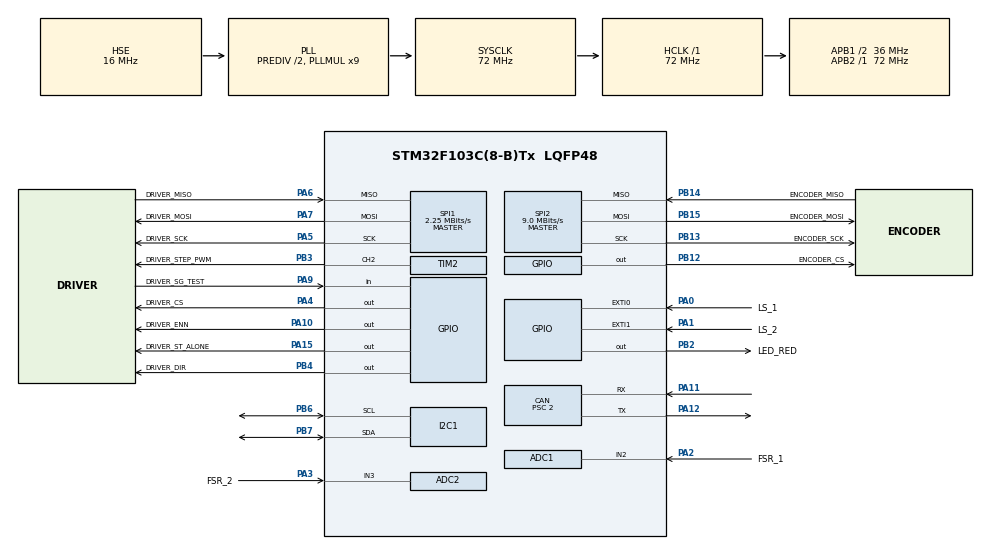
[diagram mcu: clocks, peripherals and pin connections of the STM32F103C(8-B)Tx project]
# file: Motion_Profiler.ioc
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ADC1.Channel-0\#ChannelRegularConversion=ADC_CHANNEL_2
ADC1.EnableAnalogWatchDog=true
ADC1.NbrOfConversionFlag=1
ADC1.Rank-0\#ChannelRegularConversion=1
ADC1.SamplingTime-0\#ChannelRegularConversion=ADC_SAMPLETIME_1CYCLE_5
ADC1.WatchdogChannel=ADC_CHANNEL_2
ADC1.master=1
ADC2.Channel-0\#ChannelRegularConversion=ADC_CHANNEL_3
ADC2.EnableAnalogWatchDog=true
ADC2.NbrOfConversionFlag=1
ADC2.Rank-0\#ChannelRegularConversion=1
ADC2.SamplingTime-0\#ChannelRegularConversion=ADC_SAMPLETIME_1CYCLE_5
ADC2.WatchdogChannel=ADC_CHANNEL_3
CAN.BS1=CAN_BS1_15TQ
CAN.BS2=CAN_BS2_2TQ
CAN.CalculateBaudRate=1000000
CAN.CalculateTimeBit=1000
CAN.CalculateTimeQuantum=55.55555555555556
CAN.NART=ENABLE
CAN.Prescaler=2
CAN.SJW=CAN_SJW_2TQ
Mcu.Family=STM32F1
Mcu.Name=STM32F103C(8-B)Tx
Mcu.Package=LQFP48
NVIC.ADC1_2_IRQn=true\:0\:0\:false\:false\:true\:true\:true\:true
NVIC.EXTI0_IRQn=true\:1\:0\:true\:false\:true\:true\:true\:true
NVIC.EXTI1_IRQn=true\:1\:0\:true\:false\:true\:true\:true\:true
NVIC.PriorityGroup=NVIC_PRIORITYGROUP_4
NVIC.USB_LP_CAN1_RX0_IRQn=true\:2\:0\:true\:false\:true\:true\:true\:true
PA0-WKUP.GPIO_Label=LS_1
PA0-WKUP.GPIO_ModeDefaultEXTI=GPIO_MODE_IT_RISING_FALLING
PA0-WKUP.Signal=GPXTI0
PA1.GPIO_Label=LS_2
PA1.GPIO_ModeDefaultEXTI=GPIO_MODE_IT_RISING_FALLING
PA1.Signal=GPXTI1
PA10.GPIO_Label=DRIVER_ENN
PA10.Signal=GPIO_Output
PA11.Mode=CAN_Activate
PA11.Signal=CAN_RX
PA12.Mode=CAN_Activate
PA12.Signal=CAN_TX
PA13.Mode=Serial_Wire
PA13.Signal=SYS_JTMS-SWDIO
PA14.Mode=Serial_Wire
PA14.Signal=SYS_JTCK-SWCLK
PA15.GPIO_Label=DRIVER_ST_ALONE
PA15.Signal=GPIO_Output
PA2.GPIO_Label=FSR_1
PA2.Signal=ADCx_IN2
PA3.GPIO_Label=FSR_2
PA3.Signal=ADCx_IN3
PA4.GPIO_Label=DRIVER_CS
PA4.Signal=GPIO_Output
PA5.GPIO_Label=DRIVER_SCK
PA5.Mode=Full_Duplex_Master
PA5.Signal=SPI1_SCK
PA6.GPIO_Label=DRIVER_MISO
PA6.Mode=Full_Duplex_Master
PA6.Signal=SPI1_MISO
PA7.GPIO_Label=DRIVER_MOSI
PA7.Mode=Full_Duplex_Master
PA7.Signal=SPI1_MOSI
PA9.GPIO_Label=DRIVER_SG_TEST
PA9.Signal=GPIO_Input
PB12.GPIO_Label=ENCODER_CS
PB12.Signal=GPIO_Output
PB13.GPIO_Label=ENCODER_SCK
PB13.Mode=Full_Duplex_Master
PB13.Signal=SPI2_SCK
PB14.GPIO_Label=ENCODER_MISO
PB14.Mode=Full_Duplex_Master
PB14.Signal=SPI2_MISO
PB15.GPIO_Label=ENCODER_MOSI
PB15.Mode=Full_Duplex_Master
PB15.Signal=SPI2_MOSI
PB2.GPIO_Label=LED_RED
PB2.Signal=GPIO_Output
PB3.GPIO_Label=DRIVER_STEP_PWM
PB3.Signal=S_TIM2_CH2
PB4.GPIO_Label=DRIVER_DIR
PB4.Signal=GPIO_Output
PB6.Mode=I2C
PB6.Signal=I2C1_SCL
PB7.Mode=I2C
PB7.Signal=I2C1_SDA
PD0-OSC_IN.Mode=HSE-External-Oscillator
PD0-OSC_IN.Signal=RCC_OSC_IN
PD1-OSC_OUT.Mode=HSE-External-Oscillator
PD1-OSC_OUT.Signal=RCC_OSC_OUT
ProjectManager.HeapSize=0x200
ProjectManager.StackSize=0x400
ProjectManager.TargetToolchain=STM32CubeIDE
RCC.ADCPresc=RCC_ADCPCLK2_DIV6
RCC.AHBFreq_Value=72000000
RCC.APB1CLKDivider=RCC_HCLK_DIV2
RCC.APB1Freq_Value=36000000
RCC.APB1TimFreq_Value=72000000
RCC.APB2Freq_Value=72000000
RCC.APB2TimFreq_Value=72000000
RCC.HCLKFreq_Value=72000000
RCC.HSEDivPLL=RCC_HSE_PREDIV_DIV2
RCC.HSE_VALUE=16000000
RCC.PLLMUL=RCC_PLL_MUL9
RCC.PLLSourceVirtual=RCC_PLLSOURCE_HSE
RCC.SYSCLKFreq_VALUE=72000000
RCC.SYSCLKSource=RCC_SYSCLKSOURCE_PLLCLK
RCC.USBFreq_Value=72000000
SH.ADCx_IN2.0=ADC1_IN2,IN2
SH.ADCx_IN3.0=ADC2_IN3,IN3
SH.S_TIM2_CH2.0=TIM2_CH2,PWM Generation2 CH2
SPI1.BaudRatePrescaler=SPI_BAUDRATEPRESCALER_32
SPI1.CalculateBaudRate=2.25 MBits/s
SPI1.Direction=SPI_DIRECTION_2LINES
SPI1.Mode=SPI_MODE_MASTER
SPI1.VirtualType=VM_MASTER
SPI2.BaudRatePrescaler=SPI_BAUDRATEPRESCALER_4
SPI2.CLKPhase=SPI_PHASE_2EDGE
SPI2.CalculateBaudRate=9.0 MBits/s
SPI2.Direction=SPI_DIRECTION_2LINES
SPI2.Mode=SPI_MODE_MASTER
SPI2.VirtualType=VM_MASTER
TIM2.Channel-PWM\ Generation2\ CH2=TIM_CHANNEL_2
TIM2.Period=65535
board=custom

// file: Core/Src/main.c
/* USER CODE BEGIN Header */
/**
 ******************************************************************************
 * @file           : main.c
 * @brief          : Main program body
 ******************************************************************************
 * @attention
 *
 * Copyright (c) 2024 STMicroelectronics.
 * All rights reserved.
 *
 * This software is licensed under terms that can be found in the LICENSE file
 * in the root directory of this software component.
 * If no LICENSE file comes with this software, it is provided AS-IS.
 *
 ******************************************************************************
 */
/* USER CODE END Header */
#include "main.h"
#include "adc.h"
#include "can.h"
#include "i2c.h"
#include "spi.h"
#include "tim.h"
#include "gpio.h"

/* USER CODE BEGIN Includes */

#include "motion.h"
#include "tmc_2590.h"

/* USER CODE END Includes */

/* USER CODE BEGIN PD */

void LS_Released_Callback(LS_NUMBER *num);
void LS_Pressed_Callback(LS_NUMBER *num);

/* USER CODE END PD */

/* USER CODE BEGIN PV */

RAD_PARAMS_TypeDef rad_params;
RAD_MOTION_PROFILE_TypeDef rad_motion_profile;

uint8_t ESTOP = 0;
uint8_t DISABLED = 0;

uint16_t min_angle;
uint16_t max_angle;
uint16_t gearing;
uint16_t max_rotations;
uint16_t steps_per_revolution;

float software_stop = 0;
uint8_t cw_enable = 0;
uint8_t ccw_enable = 0;

double* angle_average_buffer;
uint8_t buffer_head;

int16_t steps_to_move;

/* USER CODE END PV */

void SystemClock_Config(void);

int main(void)
{

  /* USER CODE BEGIN 1 */

	  //SET DEFAULT VALUES

		rad_params.RAD_ID = 0xF0;
	    rad_params.RAD_TYPE = RAD_TYPE_UNDEFINED;
	    rad_params.HOME_POSITION = RAD_TYPE_DRIVETRAIN_MAX_ROTATIONS/2;
	    rad_params.STEPPER_SPEED = 1000;
	    rad_params.ODOM_INTERVAL = 20; //50hz, or 20ms
	    rad_params.HEALTH_INTERVAL = 1000; //every second
	    rad_params.P = 0.01;
	    rad_params.I = 0.0000001;
	    rad_params.D = 0;

	    rad_params.CHOPCONF_CHM = 0b0;
	    rad_params.CHOPCONF_HDEC = 0b00;
	    rad_params.CHOPCONF_HEND = 0b0100;
	    rad_params.CHOPCONF_HSTRT = 0b110;
	    rad_params.CHOPCONF_RNDTF = 0b0;
	    rad_params.CHOPCONF_TBL = 0b10;
	    rad_params.CHOPCONF_TOFF = 0b100;

	    rad_params.DRVCONF_DIS_S2G = 0b0;
	    rad_params.DRVCONF_EN_PFD = 0b1;
	    rad_params.DRVCONF_EN_S2VS = 0b1;
	    rad_params.DRVCONF_OTSENS = 0b0;
	    rad_params.DRVCONF_RDSEL = 0b11;
	    rad_params.DRVCONF_SDOFF = 0b0;
	    rad_params.DRVCONF_SHRTSENS = 0b1;
	    rad_params.DRVCONF_SLP = 0b11110;
	    rad_params.DRVCONF_TS2G = 0b00;
	    rad_params.DRVCONF_TST = 0b0;
	    rad_params.DRVCONF_VSENSE = 0b0;

	    rad_params.DRVCTRL_DEDGE = 0b0;
	    rad_params.DRVCTRL_INTPOL = 0b1;
	    rad_params.DRVCTRL_MRES = 0b1000;

	    rad_params.SGCSCONF_CS = 10;
	    rad_params.SGCSCONF_SFILT = 0b0;
	    rad_params.SGCSCONF_SGT = 0b0000010;

	    rad_params.SMARTEN_SEDN = 0b00;
	    rad_params.SMARTEN_SEIMIN = 0b0;
	    rad_params.SMARTEN_SEMAX = 0b0000;
	    rad_params.SMARTEN_SEMIN = 0b0000;
	    rad_params.SMARTEN_SEUP = 0b00;

	    rad_params.PID_MIN_OUTPUT = 20;
	    rad_params.PID_MAX_OUTPUT = 1000;

	    rad_params.HOME_OFFSET = 0;

	    rad_motion_profile.STEPS_TO_MOVE = 90;
	    rad_motion_profile.V_I = 0;
	    rad_motion_profile.V_MAX = 5;
	    rad_motion_profile.ACCELERATION = 2;
	    rad_motion_profile.CURRENT_POS = 0;
	    rad_motion_profile.TIME_ELAPSED = 0;
	    rad_motion_profile.VELOCITY = 0;
	    rad_motion_profile.MOVEMENT_STEPS = 0;
	    rad_motion_profile.TOTAL_STEPS = 0;

  /* USER CODE END 1 */

  /* MCU Configuration--------------------------------------------------------*/

  /* Reset of all peripherals, Initializes the Flash interface and the Systick. */
  HAL_Init();

  /* Configure the system clock */
  SystemClock_Config();

  /* Initialize all configured peripherals */
  MX_GPIO_Init();
  MX_CAN_Init();
  MX_I2C1_Init();
  MX_SPI1_Init();
  MX_SPI2_Init();
  MX_ADC1_Init();
  MX_ADC2_Init();
  MX_TIM2_Init();
  /* USER CODE BEGIN 2 */

    // Motion_Profiler_HandleTypeDef profile;

    // profile.Init.max_velocity = 10;
    // profile.Init.min_velocity = 0;

    // profile.Init.acceleration = 5;
    // profile.Init.deadzone = 1;

    // Motion_Profiler_Init(&profile);

    // double start = 0;
    // double end = 10;

    // Motion_Profiler_GenerateNewTrajectory(&profile, start, end);

    // printf("Start: %f\n", profile.start);
    // printf("Setpoint: %f\n", profile.setpoint);

    // printf("blend x start: %f\n", profile.blend_x_start);

    // printf("blend x end: %f\n", profile.blend_x_end);

    // for (int i = 0; i <= end; i ++)
    // {
    //     Motion_Profiler_GetVelocity(&profile, (double)i);
    //     printf("Position: %d, Velocity: %d, Current State: %d\n", i, profile.current_velocity, profile.State);
    // }

  /* USER CODE END 2 */

  /* Infinite loop */
    while (1)
    {

    /* USER CODE BEGIN 3 */

    	HAL_TIM_Base_Start(&htim2);

    	// On first run, v_i = 0

    	while (rad_motion_profile.TOTAL_STEPS < rad_motion_profile.STEPS_TO_MOVE) {

			rad_motion_profile.TIME_ELAPSED = __HAL_TIM_GET_COUNTER(&htim2);

			rad_motion_profile.VELOCITY = MOTION_PROFILE_VELOCITY(rad_motion_profile.CURRENT_POS, rad_motion_profile.STEPS_TO_MOVE, rad_motion_profile.ACCELERATION, rad_motion_profile.V_I, rad_motion_profile.V_MAX, rad_motion_profile.TIME_ELAPSED);

			rad_motion_profile.MOVEMENT_STEPS = rad_motion_profile.VELOCITY * rad_motion_profile.TIME_ELAPSED;

			rad_motion_profile.TOTAL_STEPS += rad_motion_profile.MOVEMENT_STEPS;

			// Moving steps go here.  Need to link

			// todo (in hatch) - figure out the linking

			rad_motion_profile.V_I = rad_motion_profile.VELOCITY;
    	}

    }
  /* USER CODE END 3 */
}

void SystemClock_Config(void)
{
  RCC_OscInitTypeDef RCC_OscInitStruct = {0};
  RCC_ClkInitTypeDef RCC_ClkInitStruct = {0};
  RCC_PeriphCLKInitTypeDef PeriphClkInit = {0};

  /** Initializes the RCC Oscillators according to the specified parameters
  * in the RCC_OscInitTypeDef structure.
  */
  RCC_OscInitStruct.OscillatorType = RCC_OSCILLATORTYPE_HSE;
  RCC_OscInitStruct.HSEState = RCC_HSE_ON;
  RCC_OscInitStruct.HSEPredivValue = RCC_HSE_PREDIV_DIV2;
  RCC_OscInitStruct.HSIState = RCC_HSI_ON;
  RCC_OscInitStruct.PLL.PLLState = RCC_PLL_ON;
  RCC_OscInitStruct.PLL.PLLSource = RCC_PLLSOURCE_HSE;
  RCC_OscInitStruct.PLL.PLLMUL = RCC_PLL_MUL9;
  if (HAL_RCC_OscConfig(&RCC_OscInitStruct) != HAL_OK)
  {
    Error_Handler();
  }

  /** Initializes the CPU, AHB and APB buses clocks
  */
  RCC_ClkInitStruct.ClockType = RCC_CLOCKTYPE_HCLK|RCC_CLOCKTYPE_SYSCLK
                              |RCC_CLOCKTYPE_PCLK1|RCC_CLOCKTYPE_PCLK2;
  RCC_ClkInitStruct.SYSCLKSource = RCC_SYSCLKSOURCE_PLLCLK;
  RCC_ClkInitStruct.AHBCLKDivider = RCC_SYSCLK_DIV1;
  RCC_ClkInitStruct.APB1CLKDivider = RCC_HCLK_DIV2;
  RCC_ClkInitStruct.APB2CLKDivider = RCC_HCLK_DIV1;

  if (HAL_RCC_ClockConfig(&RCC_ClkInitStruct, FLASH_LATENCY_2) != HAL_OK)
  {
    Error_Handler();
  }
  PeriphClkInit.PeriphClockSelection = RCC_PERIPHCLK_ADC;
  PeriphClkInit.AdcClockSelection = RCC_ADCPCLK2_DIV6;
  if (HAL_RCCEx_PeriphCLKConfig(&PeriphClkInit) != HAL_OK)
  {
    Error_Handler();
  }
}

/* USER CODE BEGIN 4 */

void LS_Pressed_Callback(LS_NUMBER *num)
{
    HAL_GPIO_WritePin(LED_RED_GPIO_Port, LED_RED_Pin, GPIO_PIN_SET);
}

void LS_Released_Callback(LS_NUMBER *num)
{
    HAL_GPIO_WritePin(LED_RED_GPIO_Port, LED_RED_Pin, GPIO_PIN_RESET);
}

/* USER CODE END 4 */

void Error_Handler(void)
{
    __disable_irq();
    while (1)
    {
    }
}
